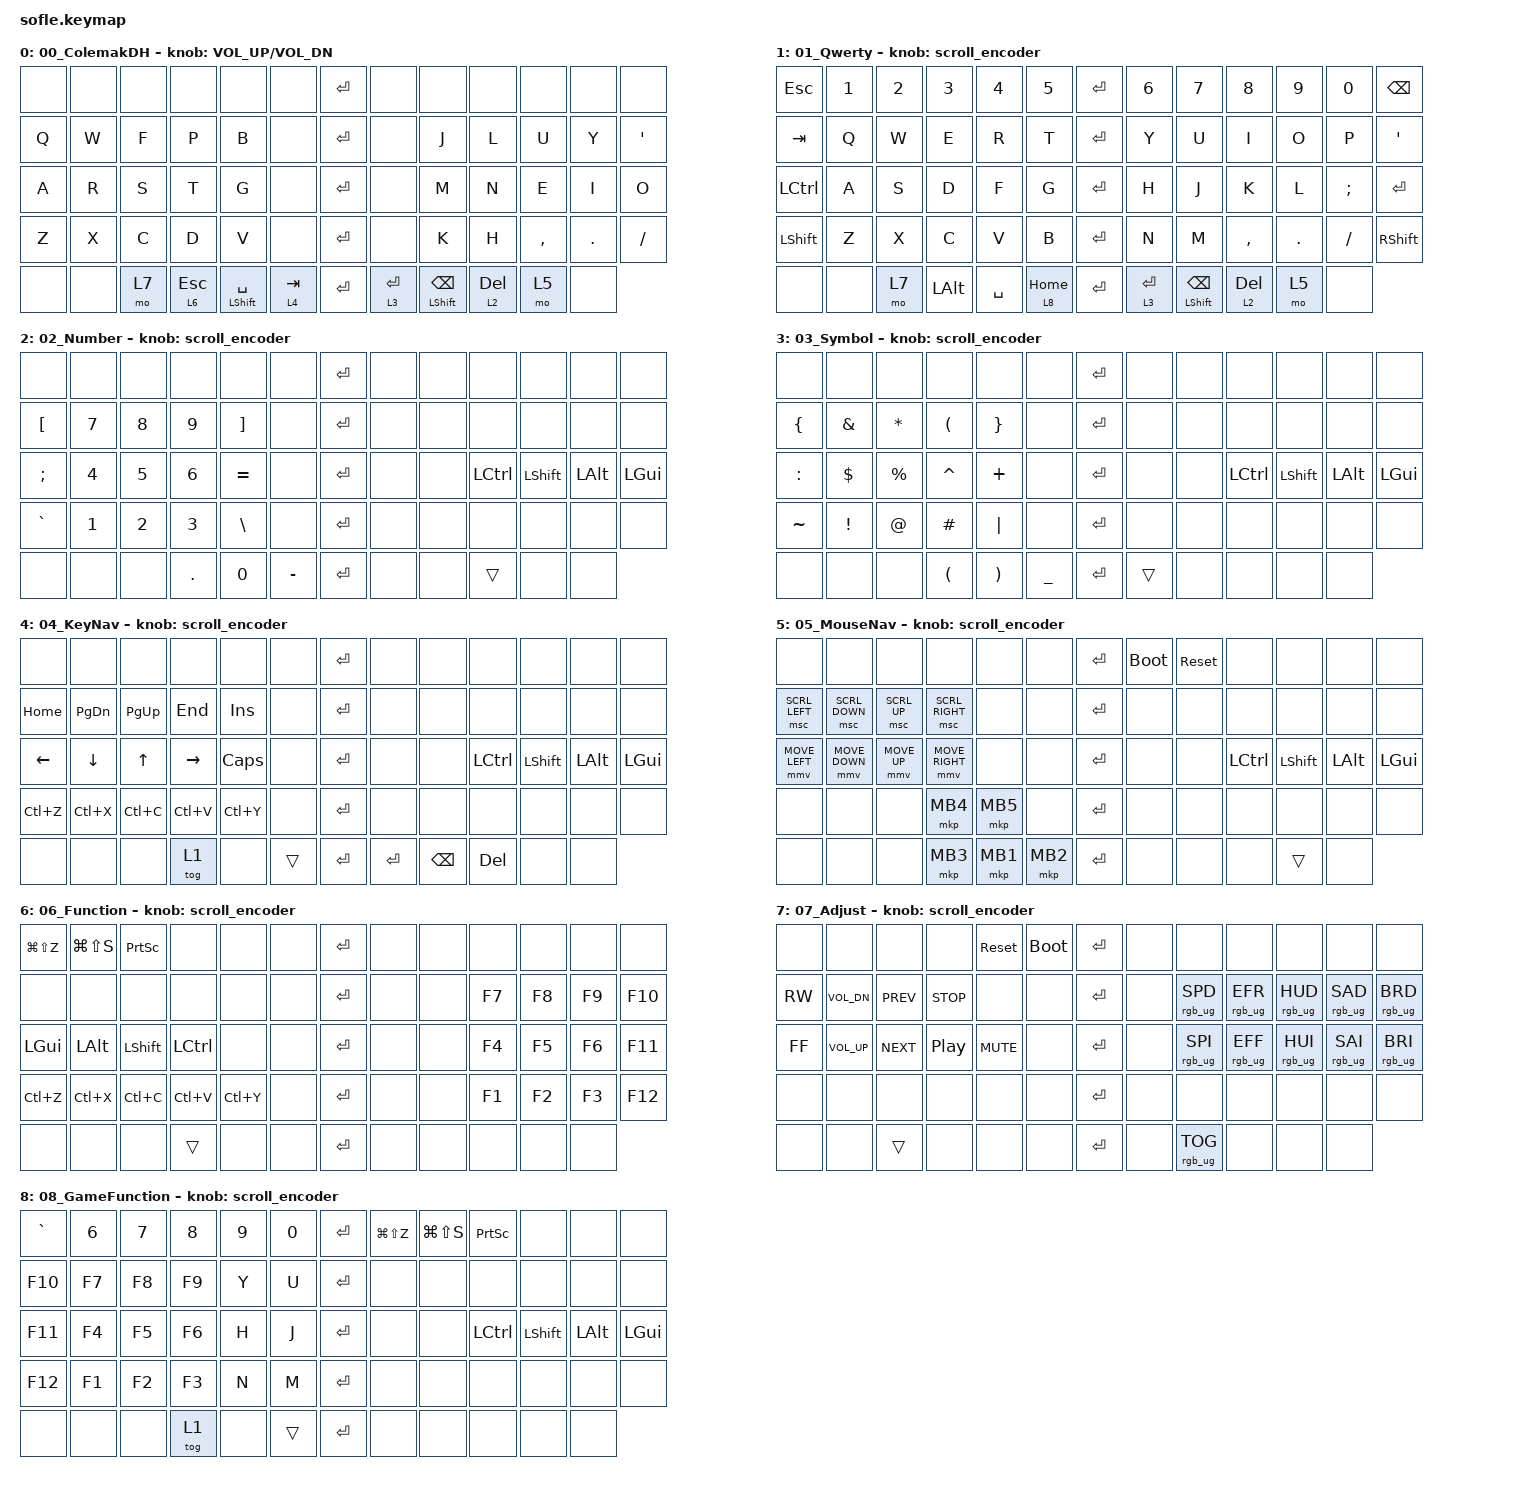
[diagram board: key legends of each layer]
#include <behaviors/mouse_keys.dtsi>
#include <behaviors.dtsi>
#include <dt-bindings/zmk/bt.h>
#include <dt-bindings/zmk/keys.h>
#include <dt-bindings/zmk/mouse.h>
#include <dt-bindings/zmk/outputs.h>
#include <dt-bindings/zmk/rgb.h>

#define ZMK_MOUSE_DEFAULT_MOVE_VAL 1200  //  600
#define ZMK_MOUSE_DEFAULT_SCRL_VAL 20    // 10

/ { 
    behaviors {
        mmv {
            acceleration-exponent = <1>;      // 1
            time-to-max-speed-ms = <900>;    // 40
            delay-ms = <0>;                   // 0
        };

        msc {
            acceleration-exponent = <1>;      // 0
            time-to-max-speed-ms = <400>;      // 500
            delay-ms = <0>;                   //   10
        };
		
		hrm: require_prior_idle {
			compatible = "zmk,behavior-hold-tap";
			#binding-cells = <2>;
			flavor = "balanced";
			tapping-term-ms = <200>;
			quick-tap-ms = <200>;
			require-prior-idle-ms = <125>;
			bindings = <&kp>, <&kp>;
		};
		 
		mt: mod_tap {
            compatible = "zmk,behavior-hold-tap";
            #binding-cells = <2>;
            flavor = "balanced";
            tapping-term-ms = <200>;
            bindings = <&kp>, <&kp>;
            display-name = "Mod-Tap";
	    };
		
		lt: layer_tap {
            compatible = "zmk,behavior-hold-tap";
            #binding-cells = <2>;
            flavor = "hold-preferred";
            tapping-term-ms = <200>;
            bindings = <&mo>, <&kp>;
            display-name = "Layer-Tap";
        };
    };
	
	combos {
        compatible = "zmk,combos";
		
        combo_OnOffQwertyLayer {
            timeout-ms = <30>;
            key-positions = <0 1>;
            bindings = <&tog 1>;
		};	
		combo_AudioOutputSwitch {
			timeout-ms = <30>;
			key-positions = <0 1 2>;
			bindings = <&kp LC(LS(LA(F1)))>;
	    };
		combo_DiscordMute {
			timeout-ms = <30>;
			key-positions = <0 1 2 3>;
			bindings = <&kp LA(B)>;
	    };
	};	

	scroll_encoder: scroll_encoder {
        compatible = "zmk,behavior-sensor-rotate";
        #sensor-binding-cells = <0>;
        bindings = <&msc SCRL_DOWN>, <&msc SCRL_UP>;

        tap-ms = <30>;
    };

    keymap {
        compatible = "zmk,keymap";

        00_ColemakDH {
            bindings = <
&none        &none       &none         &none         &none            &none      &kp RET  &none      &none           &none         &none         &none       &none
&kp Q        &kp W       &kp F         &kp P         &kp B            &none      &kp RET  &none      &kp J           &kp L         &kp U         &kp Y       &kp APOS
&kp A        &kp R       &kp S         &kp T         &kp G            &none      &kp RET  &none      &kp M           &kp N         &kp E         &kp I       &kp O
&kp Z        &kp X       &kp C         &kp D         &kp V            &none      &kp RET  &none      &kp K           &kp H         &kp COMMA     &kp DOT     &kp FSLH
&none        &none       &mo 7         &lt 6 ESC     &mt LSHFT SPACE  &lt 4 TAB  &kp RET  &lt 3 RET  &mt LSHFT BSPC  &lt 2 DEL     &mo 5         &none
            >;

            sensor-bindings = <&inc_dec_kp C_VOLUME_UP C_VOL_DN>;
            display-name = "00_ColemakDH";
        };

        01_Qwerty {
            bindings = <
&kp ESC    &kp N1  &kp N2  &kp N3    &kp N4     &kp N5      &kp RET  &kp N6     &kp N7          &kp N8     &kp N9   &kp N0    &kp BSPC
&kp TAB    &kp Q   &kp W   &kp E     &kp R      &kp T       &kp RET  &kp Y      &kp U           &kp I      &kp O    &kp P     &kp APOS
&kp LCTRL  &kp A   &kp S   &kp D     &kp F      &kp G       &kp RET  &kp H      &kp J           &kp K      &kp L    &kp SEMI  &kp RET
&kp LSHFT  &kp Z   &kp X   &kp C     &kp V      &kp B       &kp RET  &kp N      &kp M           &kp COMMA  &kp DOT  &kp FSLH  &kp RSHFT
&none      &none   &mo 7   &kp LALT  &kp SPACE  &lt 8 HOME  &kp RET  &lt 3 RET  &mt LSHFT BSPC  &lt 2 DEL  &mo 5    &none
            >;

            display-name = "01_Qwerty";
            sensor-bindings = <&scroll_encoder>;
        };

        02_Number {
            bindings = <
&none      &none    &none   &none    &none      &none      &kp RET  &none  &none   &none       &none      &none     &none
&kp LBKT   &kp N7   &kp N8  &kp N9   &kp RBKT   &none      &kp RET  &none  &none   &none       &none      &none     &none
&kp SEMI   &kp N4   &kp N5  &kp N6   &kp EQUAL  &none      &kp RET  &none  &none   &kp LCTRL   &kp LSHFT  &kp LALT  &kp LGUI
&kp GRAVE  &kp N1   &kp N2  &kp N3   &kp BSLH   &none      &kp RET  &none  &none   &none       &none      &none     &none
&none      &none    &none   &kp DOT  &kp N0     &kp MINUS  &kp RET  &none  &none   &trans      &none      &none
            >;

            display-name = "02_Number";
            sensor-bindings = <&scroll_encoder>;
        };
		
        03_Symbol {
            bindings = <
&none      &none     &none      &none      &none     &none      &kp RET  &none  &none  &none      &none      &none     &none
&kp LBRC   &kp AMPS  &kp STAR   &kp LPAR   &kp RBRC  &none      &kp RET  &none  &none  &none      &none      &none     &none
&kp COLON  &kp DLLR  &kp PRCNT  &kp CARET  &kp PLUS  &none      &kp RET  &none  &none  &kp LCTRL  &kp LSHFT  &kp LALT  &kp LGUI
&kp TILDE  &kp EXCL  &kp AT     &kp HASH   &kp PIPE  &none      &kp RET  &none  &none  &none      &none      &none     &none
&none      &none     &none      &kp LPAR   &kp RPAR  &kp UNDER  &kp RET  &trans &none  &none      &none      &none
            >;
			
            display-name = "03_Symbol";
            sensor-bindings = <&scroll_encoder>;
        };

        04_KeyNav {
            bindings = <
&none      &none      &none      &none      &none     &none   &kp RET  &none    &none     &none      &none      &none     &none
&kp HOME   &kp PG_DN  &kp PG_UP  &kp END    &kp INS   &none   &kp RET  &none    &none     &none      &none      &none     &none
&kp LEFT   &kp DOWN   &kp UP     &kp RIGHT  &kp CAPS  &none   &kp RET  &none    &none     &kp LCTRL  &kp LSHFT  &kp LALT  &kp LGUI
&kp LC(Z)  &kp LC(X)  &kp LC(C)  &kp LC(V)  &kp LC(Y) &none   &kp RET  &none    &none     &none      &none      &none     &none
&none      &none      &none      &tog 1      &none    &trans  &kp RET  &kp RET  &kp BSPC  &kp DEL    &none      &none
            >;
			
            display-name = "04_KeyNav";
            sensor-bindings = <&scroll_encoder>;
        };

        05_MouseNav {
            bindings = <
&none           &none           &none         &none            &none     &none     &kp RET  &bootloader  &sys_reset  &none      &none      &none     &none
&msc SCRL_LEFT  &msc SCRL_DOWN  &msc SCRL_UP  &msc SCRL_RIGHT  &none     &none     &kp RET  &none        &none       &none      &none      &none     &none
&mmv MOVE_LEFT  &mmv MOVE_DOWN  &mmv MOVE_UP  &mmv MOVE_RIGHT  &none     &none     &kp RET  &none        &none       &kp LCTRL  &kp LSHFT  &kp LALT  &kp LGUI
&none           &none           &none         &mkp MB4         &mkp MB5  &none     &kp RET  &none        &none       &none      &none      &none     &none
&none           &none           &none         &mkp MB3         &mkp MB1  &mkp MB2  &kp RET  &none        &none       &none      &trans     &none
            >;
			
            display-name = "05_MouseNav";
            sensor-bindings = <&scroll_encoder>;
        };

        06_Function {
            bindings = <
&kp LG(LS(Z))  &kp LG(LS(S)) &kp PSCRN &none     &none     &none  &kp RET &none &none &none  &none  &none  &none
&none          &none         &none     &none     &none     &none  &kp RET &none &none &kp F7 &kp F8 &kp F9 &kp F10
&kp LGUI       &kp LALT      &kp LSHFT &kp LCTRL &none     &none  &kp RET &none &none &kp F4 &kp F5 &kp F6 &kp F11
&kp LC(Z)      &kp LC(X)     &kp LC(C) &kp LC(V) &kp LC(Y) &none  &kp RET &none &none &kp F1 &kp F2 &kp F3 &kp F12
&none          &none         &none     &trans    &none     &none  &kp RET &none &none &none  &none  &none
            >;
			
            display-name = "06_Function";
            sensor-bindings = <&scroll_encoder>;
        };

        07_Adjust {
            bindings = <
&none          &none         &none       &none       &sys_reset  &bootloader  &kp RET  &none  &none            &none            &none            &none            &none
&kp C_RW       &kp C_VOL_DN  &kp C_PREV  &kp C_STOP  &none       &none        &kp RET  &none  &rgb_ug RGB_SPD  &rgb_ug RGB_EFR  &rgb_ug RGB_HUD  &rgb_ug RGB_SAD  &rgb_ug RGB_BRD
&kp C_FF       &kp C_VOL_UP  &kp C_NEXT  &kp C_PP    &kp C_MUTE  &none        &kp RET  &none  &rgb_ug RGB_SPI  &rgb_ug RGB_EFF  &rgb_ug RGB_HUI  &rgb_ug RGB_SAI  &rgb_ug RGB_BRI
&none          &none         &none       &none       &none       &none        &kp RET  &none  &none            &none            &none            &none            &none
&none          &none         &trans      &none       &none       &none        &kp RET  &none  &rgb_ug RGB_TOG  &none            &none            &none
            >;
			
            display-name = "07_Adjust";
            sensor-bindings = <&scroll_encoder>;
        };	   
		
		08_GameFunction {
            bindings = <
&kp GRAVE  &kp N6  &kp N7  &kp N8  &kp N9   &kp N0  &kp RET  &kp LG(LS(Z)) &kp LG(LS(S)) &kp PSCRN  &none      &none     &none
&kp F10    &kp F7  &kp F8  &kp F9  &kp Y    &kp U   &kp RET  &none         &none         &none      &none      &none     &none
&kp F11    &kp F4  &kp F5  &kp F6  &kp H    &kp J   &kp RET  &none         &none         &kp LCTRL  &kp LSHFT  &kp LALT  &kp LGUI
&kp F12    &kp F1  &kp F2  &kp F3  &kp N    &kp M   &kp RET  &none         &none         &none      &none      &none     &none
&none      &none   &none   &tog 1  &none    &trans  &kp RET  &none         &none         &none      &none      &none
            >;
			
            display-name = "08_GameFunction";
            sensor-bindings = <&scroll_encoder>;
        };
    };
};
